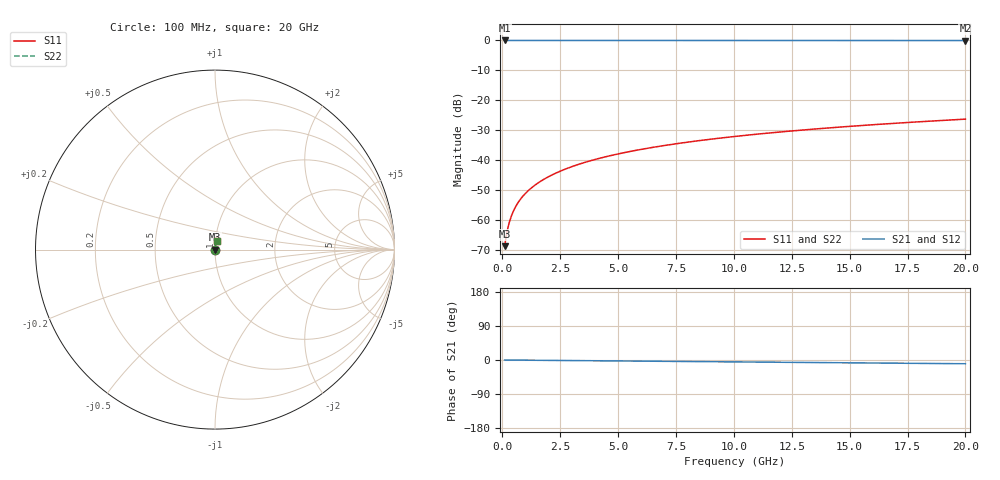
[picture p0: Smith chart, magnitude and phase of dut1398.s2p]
! Touchstone file exported from HFSS 2026.1.0
!  File:  C:/ffzhzh/LocalFiles/Ansys_Project_Files/temp_train_TSV_1398_1783196812_18472.aedt
!  Generated:  04:28:43 AM Jul  5, 2026
!  Design:  TSV
!  Project:  temp_train_TSV_1398_1783196812_18472
! Variables:
!  h_bsmrdl = 2um
!  h_ox = 20um
!  h_rdl = 5um
!  h_sub = 95.57um
!  h_tmrdl = 5um
!  h_tsv = 95.57um
!  h_via = 3um
!  l_bsmrdl = 300um
!  l_sub = 415.68um
!  l_tmrdl = 200um
!  m_sub = 200um
!  pitch = 46.3um
!  r_tsv = 7.84um
!  s_tmrdl = 10um
!  w_bsmrdl = 18um
!  w_sub = 500um
!  w_tmrdl = 12um
!  x_tsv_center1 = 206um
!  x_tsv_center2 = 524um
!  x_tsv_center3 = 736um
!  x_tsv_center4 = 1054um
!  x_tsv_center5 = 1266um
!  x_tsv_center6 = 1584um
# GHz S MA R 50.000000
! Terminal data exported
! Port[1] = TSV1_1_T1
! Port[2] = TSV1_1_T2
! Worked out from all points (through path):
!   200 points, 100 MHz to 20 GHz, reference 50 ohm
!   highest |S21| = 0.00 dB at 100 MHz (marker M1); lowest = 0.0 dB at 20 GHz (marker M2)
!   group delay of S21, straight-line fit = 1.37 ps
!   lowest |S11| = -68.8 dB at 100 MHz (marker M3), VSWR 1.00, Z = 50 + j0.0291 ohm
!   |S11| at or under -10 dB: start of sweep to end of sweep
!   |S22| runs from -68.8 to -26.3 dB; largest |S21 - S12| = 2.3e-15
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0.1  0.0003612 53.8  0.9998 -0.1  0.9998 -0.1  0.0003612 53.8
! Gamma 0 0 0 0
! Port Impedance 50 0 50 0
0.2  0.0006227 68.8  0.9998 -0.1  0.9998 -0.1  0.0006227 68.8
0.3  0.0008993 74.2  0.9998 -0.2  0.9998 -0.2  0.0008993 74.2
0.4  0.001176 76.8  0.9997 -0.2  0.9997 -0.2  0.001176 76.8
0.5  0.00145 78.3  0.9997 -0.3  0.9997 -0.3  0.00145 78.3
0.6  0.00172 79.2  0.9997 -0.3  0.9997 -0.3  0.00172 79.2
0.7  0.001985 79.8  0.9997 -0.4  0.9997 -0.4  0.001985 79.8
0.8  0.002246 80.2  0.9996 -0.4  0.9996 -0.4  0.002246 80.2
1  0.00276 80.9  0.9996 -0.5  0.9996 -0.5  0.00276 80.9
1.4  0.003765 81.9  0.9995 -0.7  0.9995 -0.7  0.003765 81.9
1.7  0.004512 82.4  0.9995 -0.9  0.9995 -0.9  0.004512 82.4
2  0.005255 82.8  0.9994 -1.0  0.9994 -1.0  0.005255 82.8
2.7  0.006986 83.3  0.9993 -1.4  0.9993 -1.4  0.006986 83.3
3.5  0.008957 83.6  0.9992 -1.8  0.9992 -1.8  0.008957 83.6
4.2  0.01067 83.6  0.9991 -2.1  0.9991 -2.1  0.01067 83.6
5  0.01262 83.5  0.999 -2.5  0.999 -2.5  0.01262 83.5
6.8  0.01698 83.1  0.9988 -3.4  0.9988 -3.4  0.01698 83.1
8.3  0.02059 82.7  0.9987 -4.1  0.9987 -4.1  0.02059 82.7
10.1  0.02489 82.1  0.9984 -5.0  0.9984 -5.0  0.02489 82.1
13.4  0.03274 80.9  0.998 -6.6  0.998 -6.6  0.03274 80.9
16.7  0.04052 79.5  0.9976 -8.3  0.9976 -8.3  0.04052 79.5
20  0.04822 78.0  0.9971 -9.9  0.9971 -9.9  0.04822 78.0
